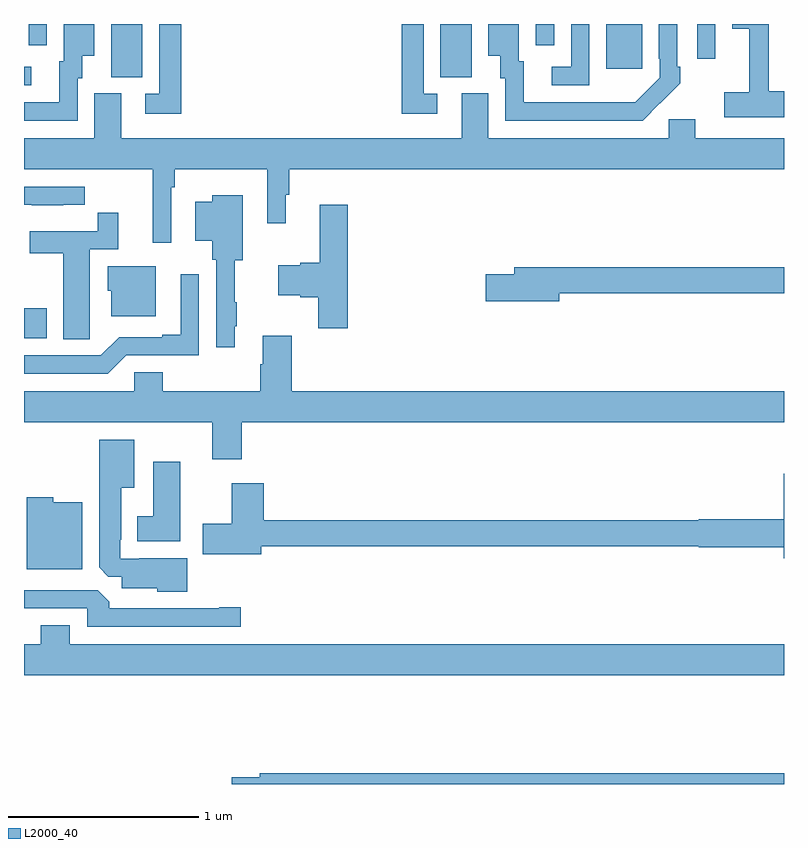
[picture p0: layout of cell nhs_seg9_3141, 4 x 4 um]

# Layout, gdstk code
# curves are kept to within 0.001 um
import gdstk
lib = gdstk.Library(unit=1e-6, precision=1e-09)
def R(c, l, rs):  # rectangles x0, y0, x1, y1
    for r in rs: c.add(gdstk.rectangle(r[:2], r[2:], *l))
def P(c, l, *ps):  # polygons
    for p in ps: c.add(gdstk.Polygon(p, *l))
L2000_40 = (2000, 40)

nhs_seg9_3141 = lib.new_cell('nhs_seg9_3141')
R(nhs_seg9_3141, L2000_40, [(291,1212.845,291.121,1213.005), (291,1214.178,291.037,1214.274), (291.458,1214.221,291.622,1214.5), (293.192,1214.221,293.356,1214.5), (294.065,1214.265,294.253,1214.5), (294.543,1214.316,294.639,1214.5), (291.024,1214.388,291.12,1214.5), (293.694,1214.388,293.79,1214.5)])
P(nhs_seg9_3141, L2000_40, [(291.827,1214.5),(291.711,1214.5),(291.711,1214.133),(291.639,1214.133),(291.639,1214.028),(291.827,1214.028)],
  [(293.976,1214.5),(293.88,1214.5),(293.88,1214.274),(293.778,1214.274),(293.778,1214.178),(293.976,1214.178)],
  [(295,1214.147),(294.92,1214.147),(294.92,1214.5),(294.728,1214.5),(294.728,1214.474),(294.818,1214.474),(294.818,1214.142),(294.686,1214.142),(294.686,1214.009),(295,1214.009)],
  [(294.347,1214.083),(294.348,1214.082),(294.453,1214.187),(294.453,1214.275),(294.438,1214.275),(294.438,1214.5),(294.342,1214.5),(294.342,1214.317),(294.345,1214.317),(294.345,1214.217),(294.217,1214.089),(294.113,1214.088),(293.629,1214.088),(293.629,1214.304),(293.605,1214.304),(293.605,1214.5),(293.444,1214.5),(293.444,1214.333),(293.507,1214.333),(293.507,1214.214),(293.532,1214.214),(293.532,1213.992),(294.256,1213.992)],
  [(291.282,1214.214),(291.307,1214.214),(291.307,1214.333),(291.37,1214.333),(291.37,1214.5),(291.209,1214.5),(291.209,1214.304),(291.185,1214.304),(291.185,1214.088),(291,1214.088),(291,1213.992),(291.282,1213.992)],
  [(293.176,1214.133),(293.103,1214.133),(293.103,1214.5),(292.987,1214.5),(292.987,1214.028),(293.176,1214.028)],
  [(291.774,1213.64),(291.794,1213.64),(291.794,1213.736),(292.28,1213.736),(292.28,1213.452),(292.378,1213.452),(292.378,1213.602),(292.397,1213.602),(292.397,1213.736),(295,1213.736),(295,1213.9),(294.532,1213.9),(294.532,1213.998),(294.393,1213.998),(294.393,1213.9),(293.443,1213.9),(293.443,1214.136),(293.303,1214.136),(293.303,1213.9),(291.511,1213.9),(291.511,1214.136),(291.371,1214.136),(291.371,1213.9),(291,1213.9),(291,1213.736),(291.677,1213.736),(291.677,1213.35),(291.774,1213.35)],
  [(291.206,1213.548),(291.319,1213.548),(291.319,1213.644),(291,1213.644),(291,1213.548),(291.04,1213.548),(291.04,1213.547),(291.206,1213.547)],
  [(292.108,1212.91),(292.12,1212.91),(292.12,1213.035),(292.11,1213.035),(292.11,1213.256),(292.15,1213.256),(292.15,1213.6),(291.992,1213.6),(291.992,1213.564),(291.902,1213.564),(291.902,1213.358),(291.992,1213.358),(291.992,1213.26),(292.011,1213.26),(292.011,1212.798),(292.108,1212.798)],
  [(292.703,1213.549),(292.556,1213.549),(292.556,1213.244),(292.455,1213.244),(292.455,1213.231),(292.338,1213.231),(292.338,1213.073),(292.455,1213.073),(292.455,1213.061),(292.549,1213.061),(292.549,1212.9),(292.703,1212.9)],
  [(291.345,1212.952),(291.346,1212.952),(291.346,1213.314),(291.497,1213.314),(291.497,1213.507),(291.388,1213.507),(291.388,1213.41),(291.029,1213.41),(291.029,1213.294),(291.206,1213.294),(291.206,1212.841),(291.345,1212.841)],
  [(291.694,1213.225),(291.44,1213.225),(291.44,1213.095),(291.458,1213.095),(291.458,1212.962),(291.694,1212.962)],
  [(293.818,1213.084),(295,1213.084),(295,1213.22),(293.579,1213.22),(293.579,1213.184),(293.43,1213.184),(293.43,1213.042),(293.818,1213.042)],
  [(291.537,1212.756),(291.921,1212.756),(291.921,1213.183),(291.824,1213.183),(291.824,1212.865),(291.728,1212.865),(291.728,1212.852),(291.501,1212.852),(291.405,1212.756),(291,1212.756),(291,1212.66),(291.441,1212.66)],
  [(292.145,1212.404),(295,1212.404),(295,1212.568),(292.409,1212.568),(292.409,1212.859),(292.256,1212.859),(292.256,1212.71),(292.244,1212.71),(292.244,1212.568),(291.731,1212.568),(291.731,1212.666),(291.579,1212.666),(291.579,1212.568),(291,1212.568),(291,1212.404),(291.992,1212.404),(291.992,1212.21),(292.145,1212.21)],
  [(291.859,1211.689),(291.607,1211.689),(291.607,1211.685),(291.507,1211.685),(291.507,1211.785),(291.511,1211.785),(291.511,1212.059),(291.58,1212.059),(291.58,1212.313),(291.395,1212.313),(291.395,1211.641),(291.444,1211.592),(291.515,1211.592),(291.515,1211.531),(291.702,1211.531),(291.702,1211.513),(291.859,1211.513)],
  [(291.823,1212.196),(291.68,1212.196),(291.68,1211.908),(291.596,1211.908),(291.596,1211.777),(291.823,1211.777)],
  [(295,1212.132),(294.998,1212.132),(294.998,1211.894),(294.552,1211.894),(294.552,1211.888),(292.262,1211.888),(292.262,1212.082),(292.094,1212.082),(292.094,1211.871),(291.942,1211.871),(291.942,1211.708),(292.249,1211.708),(292.249,1211.752),(294.552,1211.752),(294.552,1211.747),(294.998,1211.747),(294.998,1211.688),(295,1211.688)],
  [(291.307,1211.983),(291.153,1211.983),(291.153,1212.01),(291.014,1212.01),(291.014,1211.63),(291.307,1211.63)],
  [(292.141,1211.429),(292.028,1211.429),(292.028,1211.424),(291.449,1211.424),(291.449,1211.458),(291.387,1211.52),(291,1211.52),(291,1211.424),(291.333,1211.424),(291.333,1211.328),(292.141,1211.328)],
  [(295,1211.236),(291.241,1211.236),(291.241,1211.335),(291.089,1211.335),(291.089,1211.236),(291,1211.236),(291,1211.072),(295,1211.072)],
  [(295,1210.556),(292.24,1210.556),(292.24,1210.536),(292.094,1210.536),(292.094,1210.5),(295,1210.5)])

lib.write_gds('nhs_seg9_3141.gds')
